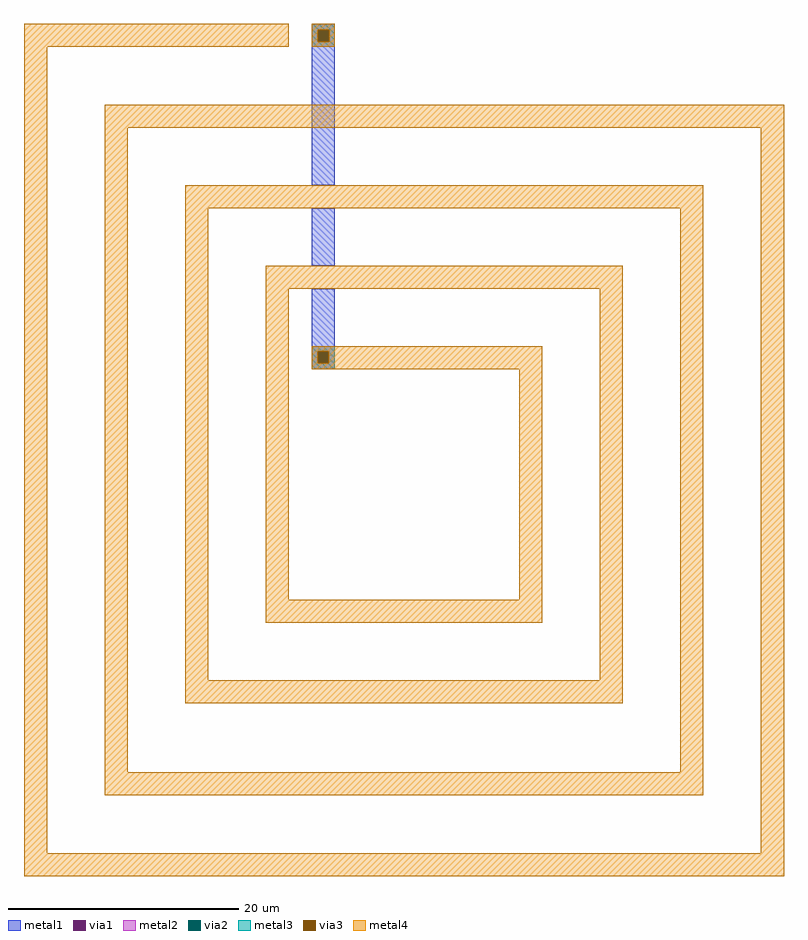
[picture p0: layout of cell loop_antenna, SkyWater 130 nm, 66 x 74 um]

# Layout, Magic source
magic
tech sky130A
magscale 1 2
<< metal1 >>
rect 0 5903 400 6000
rect 0 5690 105 5903
rect 300 5690 400 5903
rect 0 3200 400 5690
rect 0 1800 400 2800
rect 0 316 400 1400
rect 0 103 101 316
rect 296 103 400 316
rect 0 0 400 103
<< via1 >>
rect 105 5690 300 5903
rect 101 103 296 316
<< metal2 >>
rect 0 5903 400 6000
rect 0 5690 105 5903
rect 300 5690 400 5903
rect 0 5600 400 5690
rect 0 316 400 400
rect 0 103 101 316
rect 296 103 400 316
rect 0 0 400 103
<< via2 >>
rect 105 5690 300 5903
rect 101 103 296 316
<< metal3 >>
rect 0 5903 400 6000
rect 0 5690 105 5903
rect 300 5690 400 5903
rect 0 5600 400 5690
rect 0 316 400 400
rect 0 103 101 316
rect 296 103 400 316
rect 0 0 400 103
<< via3 >>
rect 105 5690 300 5903
rect 101 103 296 316
<< metal4 >>
rect -5000 5600 -400 6000
rect 0 5903 400 6000
rect 0 5690 105 5903
rect 300 5690 400 5903
rect 0 5600 400 5690
rect -5000 -8400 -4600 5600
rect -3600 4200 8200 4600
rect -3600 -7000 -3200 4200
rect -2200 2800 6800 3200
rect -2200 -5400 -1800 2800
rect -800 1400 5400 1800
rect -800 -4000 -400 1400
rect 0 316 4000 400
rect 0 103 101 316
rect 296 103 4000 316
rect 0 0 4000 103
rect 400 -1 484 0
rect 3600 -4000 4000 0
rect -800 -4400 4000 -4000
rect 5000 -5400 5400 1400
rect -2200 -5800 5400 -5400
rect 6400 -7000 6800 2800
rect -3600 -7400 6800 -7000
rect 7798 -8400 8200 4200
rect -5000 -8800 8200 -8400
<< end >>
